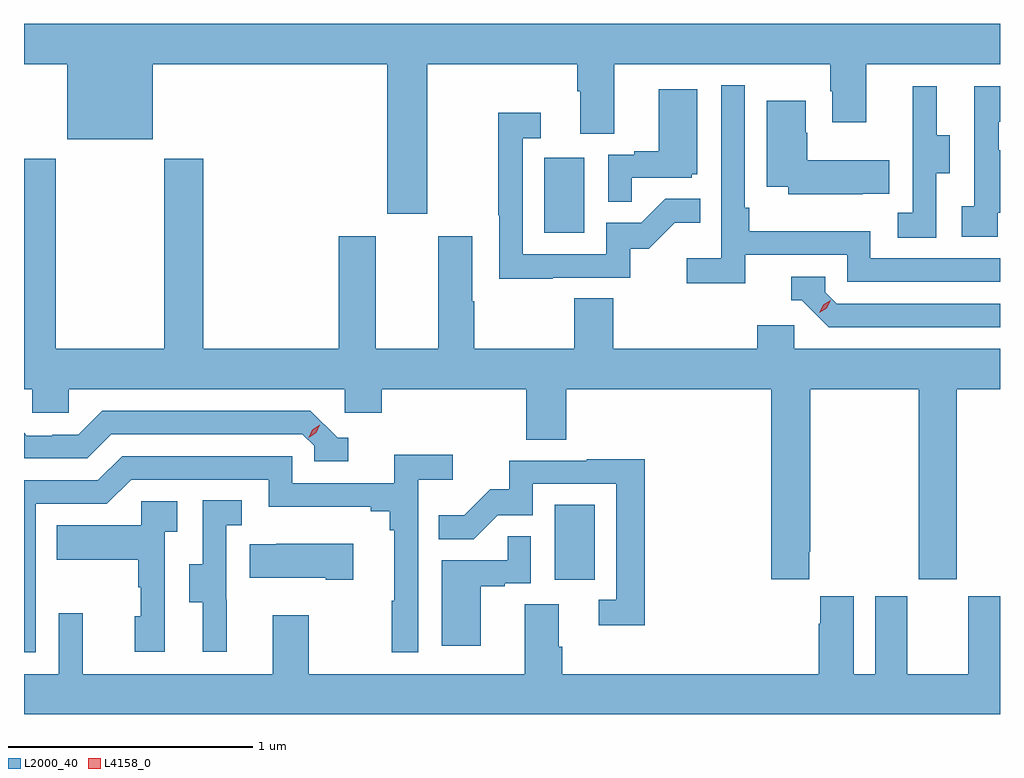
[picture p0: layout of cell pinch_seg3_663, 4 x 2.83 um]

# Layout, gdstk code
import gdstk
lib = gdstk.Library(unit=1e-6, precision=1e-09)
def R(c, l, rs):  # rectangles x0, y0, x1, y1
    for r in rs: c.add(gdstk.rectangle(r[:2], r[2:], *l))
def P(c, l, *ps):  # polygons
    for p in ps: c.add(gdstk.Polygon(p, *l))
L2000_40 = (2000, 40)
L4158_0 = (4158, 0)

pinch_seg3_663 = lib.new_cell('pinch_seg3_663')
R(pinch_seg3_663, L2000_40, [(1058.69,670.83,1058.854,671.137), (1058.648,672.252,1058.812,672.559)])
P(pinch_seg3_663, L2000_40, [(1058.167,672.944),(1058.783,672.944),(1058.783,672.832),(1058.795,672.832),(1058.795,672.658),(1058.935,672.658),(1058.935,672.944),(1059.82,672.944),(1059.82,672.833),(1059.827,672.833),(1059.827,672.705),(1059.967,672.705),(1059.967,672.944),(1060.515,672.944),(1060.515,673.108),(1056.515,673.108),(1056.515,672.944),(1056.692,672.944),(1056.692,672.635),(1057.042,672.635),(1057.042,672.944),(1058.003,672.944),(1058.003,672.33),(1058.167,672.33)],
  [(1059.47,672.162),(1059.888,672.162),(1059.888,672.051),(1060.515,672.051),(1060.515,672.147),(1059.984,672.147),(1059.984,672.259),(1059.488,672.259),(1059.488,672.355),(1059.468,672.355),(1059.468,672.856),(1059.372,672.856),(1059.372,672.148),(1059.231,672.148),(1059.231,672.046),(1059.47,672.046)],
  [(1060.506,672.335),(1060.515,672.335),(1060.515,672.59),(1060.509,672.59),(1060.509,672.708),(1060.515,672.708),(1060.515,672.853),(1060.41,672.853),(1060.41,672.362),(1060.359,672.362),(1060.359,672.237),(1060.506,672.237)],
  [(1060.254,672.496),(1060.309,672.496),(1060.309,672.651),(1060.255,672.651),(1060.255,672.853),(1060.157,672.853),(1060.157,672.639),(1060.158,672.639),(1060.158,672.335),(1060.095,672.335),(1060.095,672.232),(1060.254,672.232)],
  [(1059.005,672.477),(1059.252,672.477),(1059.252,672.492),(1059.274,672.492),(1059.274,672.841),(1059.116,672.841),(1059.116,672.586),(1059.017,672.586),(1059.017,672.573),(1058.91,672.573),(1058.91,672.379),(1059.005,672.379)],
  [(1059.953,672.413),(1060.061,672.413),(1060.061,672.55),(1059.726,672.55),(1059.726,672.663),(1059.718,672.663),(1059.718,672.793),(1059.56,672.793),(1059.56,672.44),(1059.647,672.44),(1059.647,672.41),(1059.953,672.41)],
  [(1058.681,672.069),(1059,672.069),(1059,672.186),(1059.076,672.186),(1059.183,672.293),(1059.287,672.293),(1059.287,672.392),(1059.143,672.392),(1059.045,672.294),(1058.901,672.294),(1058.901,672.165),(1058.559,672.165),(1058.559,672.639),(1058.632,672.639),(1058.632,672.745),(1058.458,672.745),(1058.458,672.325),(1058.463,672.325),(1058.463,672.064),(1058.681,672.064)],
  [(1059.733,670.945),(1059.738,670.945),(1059.738,671.612),(1060.183,671.612),(1060.183,670.833),(1060.338,670.833),(1060.338,671.612),(1060.515,671.612),(1060.515,671.776),(1059.672,671.776),(1059.672,671.874),(1059.521,671.874),(1059.521,671.776),(1058.93,671.776),(1058.93,671.984),(1058.77,671.984),(1058.77,671.776),(1058.361,671.776),(1058.361,671.972),(1058.353,671.972),(1058.353,672.238),(1058.213,672.238),(1058.213,671.776),(1057.957,671.776),(1057.957,672.238),(1057.805,672.238),(1057.805,671.776),(1057.25,671.776),(1057.25,672.556),(1057.09,672.556),(1057.09,671.776),(1056.645,671.776),(1056.645,672.556),(1056.515,672.556),(1056.515,671.612),(1056.549,671.612),(1056.549,671.514),(1056.699,671.514),(1056.699,671.612),(1057.83,671.612),(1057.83,671.514),(1057.982,671.514),(1057.982,671.612),(1058.573,671.612),(1058.573,671.404),(1058.738,671.404),(1058.738,671.612),(1059.578,671.612),(1059.578,670.833),(1059.733,670.833)],
  [(1060.515,671.961),(1059.846,671.961),(1059.798,672.009),(1059.798,672.072),(1059.659,672.072),(1059.659,671.976),(1059.702,671.976),(1059.813,671.865),(1060.515,671.865)],
  [(1057.843,671.412),(1057.8,671.412),(1057.689,671.523),(1056.836,671.523),(1056.737,671.424),(1056.63,671.424),(1056.63,671.421),(1056.527,671.421),(1056.515,671.433),(1056.515,671.328),(1056.774,671.328),(1056.873,671.427),(1057.656,671.427),(1057.704,671.379),(1057.704,671.316),(1057.843,671.316)],
  [(1056.564,671.142),(1056.855,671.142),(1056.954,671.241),(1057.518,671.241),(1057.518,671.129),(1057.937,671.129),(1057.937,671.11),(1058.014,671.11),(1058.014,671.033),(1058.033,671.033),(1058.033,670.745),(1058.022,670.745),(1058.022,670.533),(1058.13,670.533),(1058.13,671.24),(1058.272,671.24),(1058.272,671.342),(1058.033,671.342),(1058.033,671.226),(1057.614,671.226),(1057.614,671.337),(1056.917,671.337),(1056.818,671.238),(1056.515,671.238),(1056.515,670.533),(1056.564,670.533)],
  [(1059.059,671.324),(1058.821,671.324),(1058.821,671.319),(1058.503,671.319),(1058.503,671.202),(1058.426,671.202),(1058.319,671.095),(1058.215,671.095),(1058.215,670.996),(1058.359,670.996),(1058.457,671.094),(1058.601,671.094),(1058.601,671.223),(1058.943,671.223),(1058.943,670.749),(1058.871,670.749),(1058.871,670.644),(1059.059,670.644)],
  [(1057.346,670.749),(1057.344,670.749),(1057.344,671.053),(1057.408,671.053),(1057.408,671.156),(1057.248,671.156),(1057.248,670.893),(1057.193,670.893),(1057.193,670.738),(1057.247,670.738),(1057.247,670.536),(1057.346,670.536)],
  [(1057.092,671.027),(1057.144,671.027),(1057.144,671.151),(1056.996,671.151),(1056.996,671.053),(1056.649,671.053),(1056.649,670.913),(1056.984,670.913),(1056.984,670.799),(1056.994,670.799),(1056.994,670.68),(1056.968,670.68),(1056.968,670.536),(1057.092,670.536)],
  [(1058.386,670.803),(1058.486,670.803),(1058.486,670.815),(1058.592,670.815),(1058.592,671.009),(1058.497,671.009),(1058.497,670.911),(1058.228,670.911),(1058.228,670.56),(1058.386,670.56)],
  [(1057.864,670.978),(1057.549,670.978),(1057.549,670.975),(1057.441,670.975),(1057.441,670.838),(1057.751,670.838),(1057.751,670.831),(1057.864,670.831)],
  [(1060.515,670.762),(1060.385,670.762),(1060.385,670.444),(1060.135,670.444),(1060.135,670.762),(1060.004,670.762),(1060.004,670.444),(1059.916,670.444),(1059.916,670.762),(1059.779,670.762),(1059.779,670.649),(1059.773,670.649),(1059.773,670.444),(1058.72,670.444),(1058.72,670.556),(1058.707,670.556),(1058.707,670.73),(1058.567,670.73),(1058.567,670.444),(1057.683,670.444),(1057.683,670.684),(1057.535,670.684),(1057.535,670.444),(1056.755,670.444),(1056.755,670.693),(1056.657,670.693),(1056.657,670.444),(1056.515,670.444),(1056.515,670.28),(1060.515,670.28)])
P(pinch_seg3_663, L4158_0, [(1059.774,671.924),(1059.774,671.924),(1059.79,671.957),(1059.821,671.976),(1059.821,671.976),(1059.821,671.975),(1059.805,671.943),(1059.774,671.924)],
  [(1057.681,671.412),(1057.681,671.412),(1057.697,671.445),(1057.727,671.465),(1057.727,671.465),(1057.727,671.465),(1057.712,671.432),(1057.682,671.412)])

lib.write_gds('pinch_seg3_663.gds')
